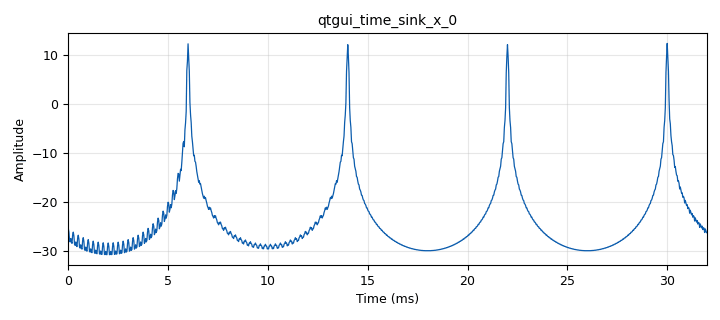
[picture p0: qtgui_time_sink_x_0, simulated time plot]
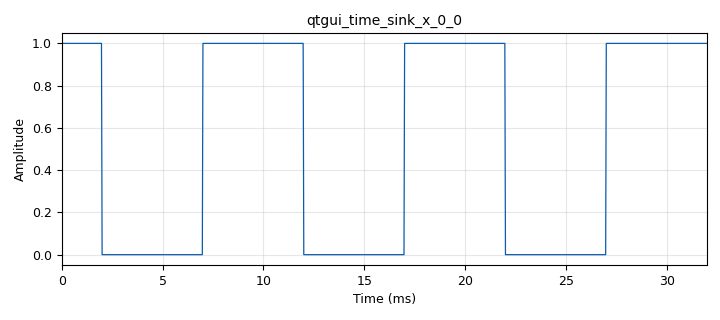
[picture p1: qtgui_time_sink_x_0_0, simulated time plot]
options:
  parameters:
    author: juan
    generate_options: qt_gui
    id: untitled
    output_language: python
    title: Not titled yet
  states: {}

blocks:
- name: samp_rate
  id: variable
  parameters:
    value: '32000'
  states: {}
- name: analog_sig_source_x_0
  id: analog_sig_source_x
  parameters:
    amp: '1'
    freq: '100'
    offset: '0'
    phase: '0'
    samp_rate: samp_rate
    type: float
    waveform: analog.GR_SQR_WAVE
  states: {}
- name: blocks_throttle2_0_0
  id: blocks_throttle2
  parameters:
    samples_per_second: samp_rate
    type: float
  states: {}
- name: epy_block_0
  id: epy_block
  parameters:
    N: '1024'
    _source_code: |
      import numpy as np
      from gnuradio import gr

      class psd_autocorr(gr.sync_block):
          """PSD estimada vía autocorrelación (Wiener-Khinchin)"""

          def __init__(self, N=1024, max_lag=256):
              gr.sync_block.__init__(self,
                  name='PSD',
                  in_sig=[np.float32],
                  out_sig=[np.float32])
              self.N = N
              self.max_lag = max_lag

          def work(self, input_items, output_items):
              x = input_items[0][:self.N]
              if len(x) < self.N:
                  return 0  # esperar a tener suficientes muestras

              # --- Autocorrelación (equivalente a tu acumulador, pero
              #     sumando x[n]*x[n+lag] en vez de x[n]) ---
              # np.correlate ya vectoriza la suma que haría tu bloque acumulador
              full = np.correlate(x, x, mode='full')
              mid = len(full) // 2
              Rxx = full[mid: mid + self.max_lag] / self.N

              # Ventaneo opcional (reduce fuga espectral)
              Rxx *= np.hanning(self.max_lag)

              # --- PSD = FFT de la autocorrelación ---
              psd = np.abs(np.fft.fft(Rxx))
              psd_db = 10 * np.log10(psd + 1e-12)

              n_out = min(len(output_items[0]), len(psd_db))
              output_items[0][:n_out] = psd_db[:n_out]
              return n_out
    max_lag: '256'
  states: {}
- name: qtgui_time_sink_x_0
  id: qtgui_time_sink_x
  parameters:
    autoscale: 'True'
    size: '1024'
    srate: samp_rate
    type: float
  states: {}
- name: qtgui_time_sink_x_0_0
  id: qtgui_time_sink_x
  parameters:
    autoscale: 'True'
    size: '1024'
    srate: samp_rate
    type: float
  states: {}

connections:
- [analog_sig_source_x_0, '0', epy_block_0, '0']
- [analog_sig_source_x_0, '0', qtgui_time_sink_x_0_0, '0']
- [blocks_throttle2_0_0, '0', qtgui_time_sink_x_0, '0']
- [epy_block_0, '0', blocks_throttle2_0_0, '0']

metadata:
  file_format: 1
  grc_version: 3.10.9.2
